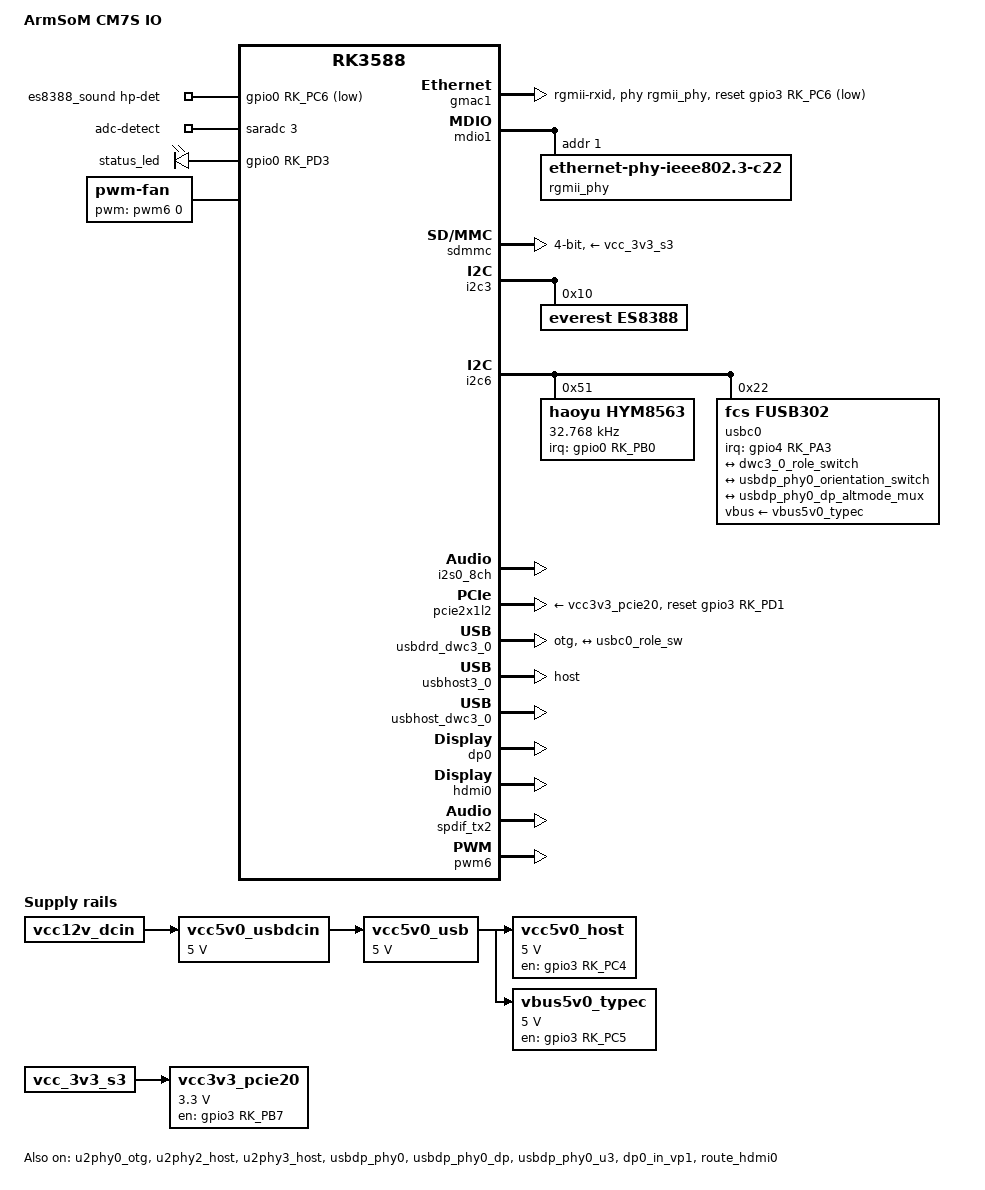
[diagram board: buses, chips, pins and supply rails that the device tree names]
// SPDX-License-Identifier: (GPL-2.0+ OR MIT)
/*
 * Copyright (c) 2021 Rockchip Electronics Co., Ltd.
 *
 */

/dts-v1/;

#include <dt-bindings/pwm/pwm.h>
#include <dt-bindings/display/drm_mipi_dsi.h>
#include <dt-bindings/sensor-dev.h>
#include "dt-bindings/usb/pd.h"
#include "rk3588s-armsom-cm7s.dtsi"

/ {
	model = "ArmSoM CM7S IO";
	compatible = "rockchip,rk3588s-armsom-cm7s-io", "rockchip,rk3588";

	/delete-node/ chosen;

	aliases {
		/* Single GbE is on gmac1. The SoC dtsi aliases it as ethernet1,
		 * which names the only NIC end1 and leaves end0 as an altname.
		 */
		ethernet0 = &gmac1;
		/delete-property/ ethernet1;
	};

	dp0_sound: dp0-sound {
		status = "okay";
		compatible = "rockchip,hdmi";
		rockchip,card-name = "rockchip-dp0";
		rockchip,mclk-fs = <512>;
		rockchip,cpu = <&spdif_tx2>;
		rockchip,codec = <&dp0 1>;
		rockchip,jack-det;
	};

	hdmi0_sound: hdmi0-sound {
		status = "okay";
		compatible = "rockchip,hdmi";
		rockchip,mclk-fs = <128>;
		rockchip,card-name = "rockchip-hdmi0";
		rockchip,cpu = <&i2s5_8ch>;
		rockchip,codec = <&hdmi0>;
		rockchip,jack-det;
	};

	vcc5v0_usbdcin: vcc5v0-usbdcin {
		compatible = "regulator-fixed";
		regulator-name = "vcc5v0_usbdcin";
		regulator-always-on;
		regulator-boot-on;
		regulator-min-microvolt = <5000000>;
		regulator-max-microvolt = <5000000>;
		vin-supply = <&vcc12v_dcin>;
	};

	vcc5v0_usb: vcc5v0-usb {
		compatible = "regulator-fixed";
		regulator-name = "vcc5v0_usb";
		regulator-always-on;
		regulator-boot-on;
		regulator-min-microvolt = <5000000>;
		regulator-max-microvolt = <5000000>;
		vin-supply = <&vcc5v0_usbdcin>;
	};

	vcc3v3_pcie20: vcc3v3-pcie20 {
		compatible = "regulator-fixed";
		regulator-name = "vcc3v3_pcie20";
		regulator-min-microvolt = <3300000>;
		regulator-max-microvolt = <3300000>;
		enable-active-high;
		gpio = <&gpio3 RK_PB7 GPIO_ACTIVE_HIGH>;
		startup-delay-us = <5000>;
		vin-supply = <&vcc_3v3_s3>;
	};

	vcc5v0_host: vcc5v0-host {
		compatible = "regulator-fixed";
		regulator-name = "vcc5v0_host";
		regulator-boot-on;
		regulator-always-on;
		enable-active-high;
		gpio = <&gpio3 RK_PC4 GPIO_ACTIVE_HIGH>;
		regulator-min-microvolt = <5000000>;
		regulator-max-microvolt = <5000000>;
		vin-supply = <&vcc5v0_usb>;
		pinctrl-names = "default";
		pinctrl-0 = <&vcc5v0_host_en>;
	};

	vbus5v0_typec: vbus5v0-typec {
		compatible = "regulator-fixed";
		regulator-name = "vbus5v0_typec";
		regulator-min-microvolt = <5000000>;
		regulator-max-microvolt = <5000000>;
		enable-active-high;
		gpio = <&gpio3 RK_PC5 GPIO_ACTIVE_HIGH>;
		vin-supply = <&vcc5v0_usb>;
		pinctrl-names = "default";
		pinctrl-0 = <&typec5v_pwren>;
	};

	es8388_sound: es8388-sound {
		status = "okay";
		compatible = "rockchip,multicodecs-card";
		rockchip,card-name = "rockchip,es8388";
		hp-det-gpio = <&gpio0 RK_PC6 GPIO_ACTIVE_LOW>;
		io-channels = <&saradc 3>;
		io-channel-names = "adc-detect";
		keyup-threshold-microvolt = <1800000>;
		poll-interval = <100>;
		rockchip,format = "i2s";
		rockchip,mclk-fs = <256>;
		rockchip,cpu = <&i2s0_8ch>;
		rockchip,codec = <&es8388>;
		rockchip,audio-routing =
			"Headphone", "LOUT1",
			"Headphone", "ROUT1",
			"LINPUT2", "Main Mic",
			"RINPUT2", "Main Mic";
		pinctrl-names = "default";
		pinctrl-0 = <&hp_det>;
	};

	leds: gpio-leds {
		compatible = "gpio-leds";
		pinctrl-names = "default";
		pinctrl-0 = <&led_gpio>;
		status = "okay";

		status-led {
			gpios = <&gpio0 RK_PD3 GPIO_ACTIVE_HIGH>;
			label = "status_led";
			linux,default-trigger = "heartbeat";
		};
	};

	fan: pwm-fan {
		compatible = "pwm-fan";
		#cooling-cells = <2>;
		pwms = <&pwm6 0 50000 0>;
		cooling-levels = <0 50 100 150 200 255>;
		rockchip,temp-trips = <
			40000   2
			50000   3
			55000   4
			60000   5
			65000   5
			70000   5
		>;
		status = "okay";
	};
};

&gmac1 {
	/* Use rgmii-rxid mode to disable rx delay inside Soc */
	phy-mode = "rgmii-rxid";
	clock_in_out = "input";

	snps,reset-gpio = <&gpio3 RK_PC6 GPIO_ACTIVE_LOW>;
	snps,reset-active-low;
	/* Reset time is 20ms, 100ms for rtl8211f */
	snps,reset-delays-us = <0 20000 100000>;

	pinctrl-names = "default";
	pinctrl-0 = <&gmac1_miim
		&gmac1_tx_bus2
		&gmac1_rx_bus2
		&gmac1_rgmii_clk
		&gmac1_rgmii_bus
		&gmac1_clkinout>;

	tx_delay = <0x43>;
	/* rx_delay = <0x3f>; */

	phy-handle = <&rgmii_phy>;
	status = "okay";
};

&mdio1 {
	rgmii_phy: phy@1 {
		compatible = "ethernet-phy-ieee802.3-c22";
		reg = <0x1>;
	};
};

&sdmmc {
	max-frequency = <150000000>;
	no-sdio;
	no-mmc;
	bus-width = <4>;
	cap-mmc-highspeed;
	cap-sd-highspeed;
	disable-wp;
	sd-uhs-sdr104;
	vmmc-supply = <&vcc_3v3_s3>;
	vqmmc-supply = <&vccio_sd_s0>;
	status = "okay";
};

&i2c3 {
	status = "okay";
	pinctrl-names = "default";
	pinctrl-0 = <&i2c3m2_xfer>;

	es8388: es8388@10 {
		status = "okay";
		#sound-dai-cells = <0>;
		compatible = "everest,es8388", "everest,es8323";
		reg = <0x10>;
		clocks = <&mclkout_i2s0>;
		clock-names = "mclk";
		assigned-clocks = <&mclkout_i2s0>;
		assigned-clock-rates = <12288000>;
		pinctrl-names = "default";
		pinctrl-0 = <&i2s0_mclk>;
	};
};

&i2c6 {
	status = "okay";
	pinctrl-names = "default";
	pinctrl-0 = <&i2c6m3_xfer>;

	hym8563: hym8563@51 {
		compatible = "haoyu,hym8563";
		reg = <0x51>;
		#clock-cells = <0>;
		clock-frequency = <32768>;
		clock-output-names = "hym8563";
		pinctrl-names = "default";
		pinctrl-0 = <&hym8563_int>;
		interrupt-parent = <&gpio0>;
		interrupts = <RK_PB0 IRQ_TYPE_LEVEL_LOW>;
		status = "okay";
	};

	usbc0: fusb302@22 {
		compatible = "fcs,fusb302";
		reg = <0x22>;
		interrupt-parent = <&gpio4>;
		interrupts = <RK_PA3 IRQ_TYPE_LEVEL_LOW>;
		pinctrl-names = "default";
		pinctrl-0 = <&usbc0_int>;
		vbus-supply = <&vbus5v0_typec>;
		status = "okay";

		ports {
			#address-cells = <1>;
			#size-cells = <0>;

			port@0 {
				reg = <0>;
				usbc0_role_sw: endpoint@0 {
					remote-endpoint = <&dwc3_0_role_switch>;
				};
			};
		};

		usb_con: connector {
			compatible = "usb-c-connector";
			label = "USB-C";
			data-role = "dual";
			power-role = "dual";
			try-power-role = "sink";
			op-sink-microwatt = <1000000>;
			sink-pdos =
				<PDO_FIXED(5000, 1000, PDO_FIXED_USB_COMM)>;
			source-pdos =
				<PDO_FIXED(5000, 3000, PDO_FIXED_USB_COMM)>;

			altmodes {
				#address-cells = <1>;
				#size-cells = <0>;

				altmode@0 {
					reg = <0>;
					svid = <0xff01>;
					vdo = <0xffffffff>;
				};
			};

			ports {
				#address-cells = <1>;
				#size-cells = <0>;

				port@0 {
					reg = <0>;
					usbc0_orien_sw: endpoint {
						remote-endpoint = <&usbdp_phy0_orientation_switch>;
					};
				};

				port@1 {
					reg = <1>;
					dp_altmode_mux: endpoint {
						remote-endpoint = <&usbdp_phy0_dp_altmode_mux>;
					};
				};
			};
		};
	};
};

&i2s0_8ch {
	status = "okay";
	pinctrl-0 = <&i2s0_lrck
		&i2s0_sclk
		&i2s0_sdi0
		&i2s0_sdo0>;
};

&pcie2x1l2 {
	reset-gpios = <&gpio3 RK_PD1 GPIO_ACTIVE_HIGH>;
	vpcie3v3-supply = <&vcc3v3_pcie20>;
	status = "okay";
};

&pinctrl {
	usb-typec {
		usbc0_int: usbc0-int {
			rockchip,pins = <4 RK_PA3 RK_FUNC_GPIO &pcfg_pull_up>;
		};

		typec5v_pwren: typec5v-pwren {
			rockchip,pins = <3 RK_PC5 RK_FUNC_GPIO &pcfg_pull_none>;
		};
	};

	usb {
		vcc5v0_host_en: vcc5v0-host-en {
			rockchip,pins = <3 RK_PC4 RK_FUNC_GPIO &pcfg_pull_none>;
		};
	};

	headphone {
		hp_det: hp-det {
			rockchip,pins = <0 RK_PC6 RK_FUNC_GPIO &pcfg_pull_none>;
		};
	};

	hym8563 {
		hym8563_int: hym8563-int {
			rockchip,pins = <0 RK_PB0 RK_FUNC_GPIO &pcfg_pull_up>;
		};
	};

	leds {
		led_gpio: led-gpio {
			rockchip,pins = <0 RK_PD3 RK_FUNC_GPIO &pcfg_pull_none>;
		};
	};
};

&u2phy0_otg {
	status = "okay";
	rockchip,typec-vbus-det;
};

&u2phy2_host {
	status = "okay";
};

&u2phy3_host {
	status = "okay";
};

&usbdrd_dwc3_0 {
	status = "okay";
	dr_mode = "otg";
	phy_mode = "utmi_wide";
	usb-role-switch;
	port {
		#address-cells = <1>;
		#size-cells = <0>;
		dwc3_0_role_switch: endpoint@0 {
			reg = <0>;
			remote-endpoint = <&usbc0_role_sw>;
		};
	};
};

&usbhost3_0 {
	dr_mode = "host";
	status = "okay";
};

&usbhost_dwc3_0 {
	status = "okay";
};

&usbdp_phy0 {
	orientation-switch;
	svid = <0xff01>;
	status = "okay";

	port {
		#address-cells = <1>;
		#size-cells = <0>;

		usbdp_phy0_orientation_switch: endpoint@0 {
			reg = <0>;
			remote-endpoint = <&usbc0_orien_sw>;
		};

		usbdp_phy0_dp_altmode_mux: endpoint@1 {
			reg = <1>;
			remote-endpoint = <&dp_altmode_mux>;
		};
	};
};

&usbdp_phy0_dp {
	status = "okay";
};

&usbdp_phy0_u3 {
	status = "okay";
};

&dp0 {
	status = "okay";
};

&dp0_in_vp1 {
	status = "okay";
};

&hdmi0 {
	status = "okay";
	enable-gpios = <&gpio4 RK_PB5 GPIO_ACTIVE_HIGH>;
	cec-enable = "true";
};

&route_hdmi0 {
	status = "okay";
};

&spdif_tx2 {
	status = "okay";
};

&pwm0 {
	pinctrl-names = "active";
	pinctrl-0 = <&pwm0m1_pins>;
	status = "disabled";
};

&pwm6 {
	pinctrl-names = "active";
	pinctrl-0 = <&pwm6m0_pins>;
	status = "okay";
};

&uart4 {
	status = "disabled";
	pinctrl-names = "default";
	pinctrl-0 = <&uart4m2_xfer>;
};

&pwm3 {
	status = "disabled";
	pinctrl-0 = <&pwm3m3_pins>;
};

&uart6 {
	status = "disabled";
	pinctrl-0 = <&uart6m2_xfer>;
};

&uart7 {
	status = "disabled";
	pinctrl-0 = <&uart7m2_xfer>;
};

/* delete gpio0_c2 */
&pmic_pins {
	rockchip,pins =
	/* pmic_int_l */
		<0 RK_PA7 0 &pcfg_pull_up>,
	/* pmic_sleep1 */
		<0 RK_PA2 1 &pcfg_pull_down>,
	/* pmic_sleep2 */
		<0 RK_PA3 1 &pcfg_pull_none>,
	/* pmic_sleep3 */
		<0 RK_PC1 1 &pcfg_pull_none>,
	/* pmic_sleep5 */
		<0 RK_PC3 1 &pcfg_pull_none>,
	/* pmic_sleep6 */
		<0 RK_PD6 1 &pcfg_pull_none>;
};
